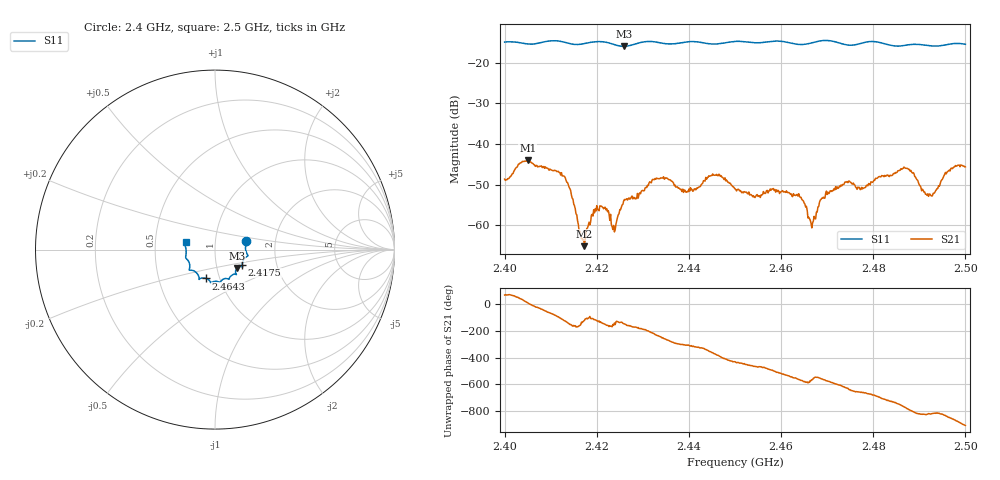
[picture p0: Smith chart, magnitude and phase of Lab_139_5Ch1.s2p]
# Hz S RI R 50
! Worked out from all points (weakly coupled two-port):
!   601 points, 2.4 GHz to 2.5 GHz, reference 50 ohm
!   highest |S21| = -44.04 dB at 2.405 GHz (marker M1); lowest = -65.2 dB at 2.4173 GHz (marker M2)
!   lowest |S11| = -15.9 dB at 2.4258 GHz (marker M3), VSWR 1.38, Z = 62.3 - j13.2 ohm
!   |S11| at or under -10 dB: start of sweep to end of sweep
!   S12 and S22 are empty: the file has one direction only
!   S11 on the Smith chart (normalised r, x): 2.4 GHz: 1.41, +0.14; 2.4175 GHz: 1.33, -0.23; 2.4643 GHz: 0.86, -0.28; 2.5 GHz: 0.72, +0.06
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2.4e9  0.1735 0.049  0.00128 0.00346  0 0  0 0
2.405e9  0.1702 0.0145  0.00615 0.00126  0 0  0 0
2.412833e9  0.176 -0.0396  -0.00203 -0.00348  0 0  0 0
2.416667e9  0.1529 -0.0742  -0.000481 -0.000487  0 0  0 0
2.417333e9  0.1519 -0.082  -0.000281 -0.000474  0 0  0 0
2.4175e9  0.1517 -0.0839  -0.000227 -0.000624  0 0  0 0
2.419833e9  0.1538 -0.0978  -0.000719 -0.00131  0 0  0 0
2.422167e9  0.1513 -0.0949  -0.00148 -0.000597  0 0  0 0
2.423667e9  0.1403 -0.0939  -0.000924 -0.000357  0 0  0 0
2.425833e9  0.1218 -0.103  -0.00164 -0.00111  0 0  0 0
2.433333e9  0.1136 -0.137  -0.00208 0.00312  0 0  0 0
2.439333e9  0.0796 -0.1615  0.00158 0.00201  0 0  0 0
2.446167e9  0.0462 -0.1648  0.00376 -0.00161  0 0  0 0
2.45e9  0.029 -0.1813  0.000893 -0.00265  0 0  0 0
2.464333e9  -0.0497 -0.1606  -0.00185 0.00119  0 0  0 0
2.466667e9  -0.0761 -0.159  -0.000828 0.000416  0 0  0 0
2.470167e9  -0.0886 -0.1659  -0.00199 0.00159  0 0  0 0
2.483333e9  -0.1405 -0.0897  0.004 -0.000277  0 0  0 0
2.487333e9  -0.1573 -0.0532  0.00217 -0.00452  0 0  0 0
2.4925e9  -0.1607 -0.02  -0.000613 -0.00224  0 0  0 0
2.496e9  -0.1661 0.0203  -0.00242 -0.00378  0 0  0 0
2.5e9  -0.1639 0.0425  -0.00513 0.000977  0 0  0 0
